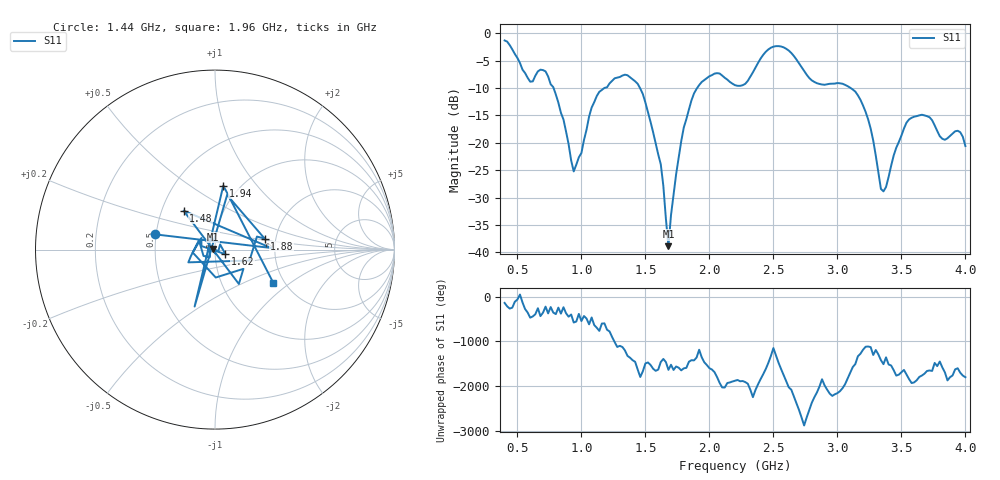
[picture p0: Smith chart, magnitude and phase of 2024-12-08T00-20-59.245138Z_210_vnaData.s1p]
!Created with skrf (http://scikit-rf.org).
# Hz S RI R 50.0
!freq ReS11 ImS11
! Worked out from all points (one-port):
!   181 points, 400 MHz to 4 GHz, reference 50 ohm
!   lowest |S11| = -38.9 dB at 1.68 GHz (marker M1), VSWR 1.02, Z = 48.9 + j0.359 ohm
!   |S11| at or under -10 dB: 782.8 MHz to 1.178 GHz (395.3 MHz wide, 40.3 % of centre); 1.458 GHz to 1.904 GHz (445.7 MHz wide, 26.5 % of centre); 3.104 GHz to end of sweep
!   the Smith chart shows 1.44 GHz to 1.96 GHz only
!   S11 on the Smith chart (normalised r, x): 1.44 GHz: 0.49, +0.09; 1.48 GHz: 0.65, +0.30; 1.62 GHz: 1.12, -0.06; 1.88 GHz: 1.74, +0.23; 1.94 GHz: 0.84, +0.69; 1.96 GHz: 1.75, -0.76
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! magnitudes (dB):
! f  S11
! 400 MHz  -1.3
! 600 MHz  -8.8
! 720 MHz  -6.9
! 860 MHz  -15.7
! 940 MHz  -25.2
! 1.12 GHz  -11.5
! 1.3 GHz  -8.0
! 1.44 GHz  -9.2
! 1.48 GHz  -11.1
! 1.62 GHz  -23.9
! 1.68 GHz  -38.9
! 1.76 GHz  -22.7
! 1.88 GHz  -11.0
! 1.94 GHz  -8.9
! 1.96 GHz  -8.5
! 2.2 GHz  -9.5
! 2.48 GHz  -2.6
! 2.66 GHz  -4.1
! 2.82 GHz  -8.9
! 3.1 GHz  -9.9
! 3.24 GHz  -15.7
! 3.34 GHz  -28.4
! 3.36 GHz  -28.9
! 3.56 GHz  -15.7
! 3.72 GHz  -15.3
! 3.82 GHz  -19.3
! 3.94 GHz  -17.8
! 4 GHz  -20.6
